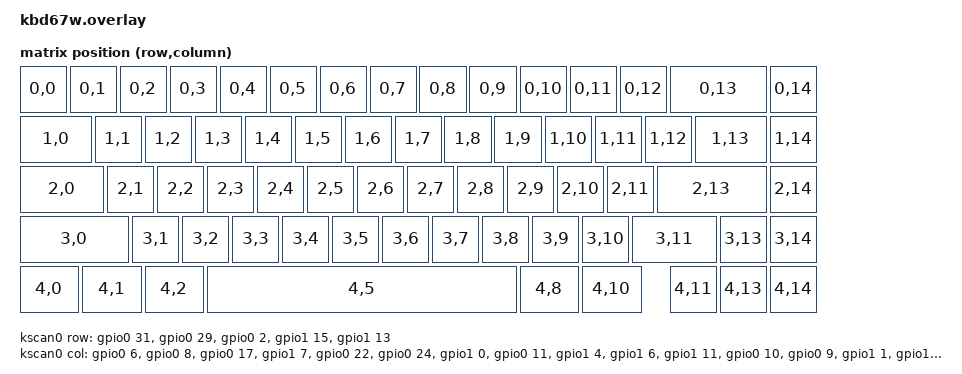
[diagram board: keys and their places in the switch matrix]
/*
 * KBD67 Lite R2 (KBD67 MKII RGB V2 PCB) converted to wireless with a
 * nice!nano-compatible nRF52840 controller (SuperMini). ATmega32U4 removed;
 * the PCB's 5x15 COL2ROW matrix is hand-wired to the controller.
 *
 * Pad names below are the numbers printed on the SuperMini (e.g. "031" = P0.31).
 * Matrix positions come from QMK keyboards/kbdfans/kbd67/mkiirgb/v2.
 * Pad "020" (P0.20) lost its connection to the chip on this SuperMini (2026-09-27),
 * so C3 uses the old spare pad "107" (P1.07). No spare pads are left.
 */

#include <dt-bindings/zmk/matrix_transform.h>
#include <physical_layouts.dtsi>

/* Pads "009" and "010" (P0.09/P0.10) default to NFC; we use them as key columns. */
&uicr {
    nfct-pins-as-gpios;
};

/ {
    chosen {
        zmk,kscan = &kscan0;
        zmk,physical-layout = &physical_layout0;
    };

    kscan0: kscan0 {
        compatible = "zmk,kscan-gpio-matrix";
        diode-direction = "col2row";
        wakeup-source;

        row-gpios
            = <&gpio0 31 (GPIO_ACTIVE_HIGH | GPIO_PULL_DOWN)>  /* R0 number row: pad "031" */
            , <&gpio0 29 (GPIO_ACTIVE_HIGH | GPIO_PULL_DOWN)>  /* R1 Tab row: pad "029" */
            , <&gpio0  2 (GPIO_ACTIVE_HIGH | GPIO_PULL_DOWN)>  /* R2 Caps row: pad "002" */
            , <&gpio1 15 (GPIO_ACTIVE_HIGH | GPIO_PULL_DOWN)>  /* R3 Shift row: pad "115" */
            , <&gpio1 13 (GPIO_ACTIVE_HIGH | GPIO_PULL_DOWN)>  /* R4 bottom row: pad "113" */
            ;

        col-gpios
            = <&gpio0  6 GPIO_ACTIVE_HIGH>  /* C0 : pad "006" */
            , <&gpio0  8 GPIO_ACTIVE_HIGH>  /* C1 : pad "008" */
            , <&gpio0 17 GPIO_ACTIVE_HIGH>  /* C2 : pad "017" */
            , <&gpio1  7 GPIO_ACTIVE_HIGH>  /* C3 : pad "107" (pad "020" is dead) */
            , <&gpio0 22 GPIO_ACTIVE_HIGH>  /* C4 : pad "022" */
            , <&gpio0 24 GPIO_ACTIVE_HIGH>  /* C5 : pad "024" */
            , <&gpio1  0 GPIO_ACTIVE_HIGH>  /* C6 : pad "100" */
            , <&gpio0 11 GPIO_ACTIVE_HIGH>  /* C7 : pad "011" */
            , <&gpio1  4 GPIO_ACTIVE_HIGH>  /* C8 : pad "104" */
            , <&gpio1  6 GPIO_ACTIVE_HIGH>  /* C9 : pad "106" */
            , <&gpio1 11 GPIO_ACTIVE_HIGH>  /* C10: pad "111" */
            , <&gpio0 10 GPIO_ACTIVE_HIGH>  /* C11: pad "010" */
            , <&gpio0  9 GPIO_ACTIVE_HIGH>  /* C12: pad "009" */
            , <&gpio1  1 GPIO_ACTIVE_HIGH>  /* C13: pad "101" */
            , <&gpio1  2 GPIO_ACTIVE_HIGH>  /* C14: pad "102" */
            ;
    };

    default_transform: keymap_transform_0 {
        compatible = "zmk,matrix-transform";
        columns = <15>;
        rows = <5>;
        map = <
            RC(0,0) RC(0,1) RC(0,2) RC(0,3) RC(0,4) RC(0,5) RC(0,6) RC(0,7) RC(0,8) RC(0,9) RC(0,10) RC(0,11) RC(0,12) RC(0,13) RC(0,14)
            RC(1,0) RC(1,1) RC(1,2) RC(1,3) RC(1,4) RC(1,5) RC(1,6) RC(1,7) RC(1,8) RC(1,9) RC(1,10) RC(1,11) RC(1,12) RC(1,13) RC(1,14)
            RC(2,0) RC(2,1) RC(2,2) RC(2,3) RC(2,4) RC(2,5) RC(2,6) RC(2,7) RC(2,8) RC(2,9) RC(2,10) RC(2,11) RC(2,13) RC(2,14)
            RC(3,0) RC(3,1) RC(3,2) RC(3,3) RC(3,4) RC(3,5) RC(3,6) RC(3,7) RC(3,8) RC(3,9) RC(3,10) RC(3,11) RC(3,13) RC(3,14)
            RC(4,0) RC(4,1) RC(4,2) RC(4,5) RC(4,8) RC(4,10) RC(4,11) RC(4,13) RC(4,14)
        >;
    };

    physical_layout0: physical_layout_0 {
        compatible = "zmk,physical-layout";
        display-name = "65% ANSI (blocker)";
        transform = <&default_transform>;

        keys  //                     w   h    x    y  rot rx ry
            = <&key_physical_attrs 100 100    0   0 0 0 0>
            , <&key_physical_attrs 100 100  100   0 0 0 0>
            , <&key_physical_attrs 100 100  200   0 0 0 0>
            , <&key_physical_attrs 100 100  300   0 0 0 0>
            , <&key_physical_attrs 100 100  400   0 0 0 0>
            , <&key_physical_attrs 100 100  500   0 0 0 0>
            , <&key_physical_attrs 100 100  600   0 0 0 0>
            , <&key_physical_attrs 100 100  700   0 0 0 0>
            , <&key_physical_attrs 100 100  800   0 0 0 0>
            , <&key_physical_attrs 100 100  900   0 0 0 0>
            , <&key_physical_attrs 100 100 1000   0 0 0 0>
            , <&key_physical_attrs 100 100 1100   0 0 0 0>
            , <&key_physical_attrs 100 100 1200   0 0 0 0>
            , <&key_physical_attrs 200 100 1300   0 0 0 0>
            , <&key_physical_attrs 100 100 1500   0 0 0 0>
            , <&key_physical_attrs 150 100    0 100 0 0 0>
            , <&key_physical_attrs 100 100  150 100 0 0 0>
            , <&key_physical_attrs 100 100  250 100 0 0 0>
            , <&key_physical_attrs 100 100  350 100 0 0 0>
            , <&key_physical_attrs 100 100  450 100 0 0 0>
            , <&key_physical_attrs 100 100  550 100 0 0 0>
            , <&key_physical_attrs 100 100  650 100 0 0 0>
            , <&key_physical_attrs 100 100  750 100 0 0 0>
            , <&key_physical_attrs 100 100  850 100 0 0 0>
            , <&key_physical_attrs 100 100  950 100 0 0 0>
            , <&key_physical_attrs 100 100 1050 100 0 0 0>
            , <&key_physical_attrs 100 100 1150 100 0 0 0>
            , <&key_physical_attrs 100 100 1250 100 0 0 0>
            , <&key_physical_attrs 150 100 1350 100 0 0 0>
            , <&key_physical_attrs 100 100 1500 100 0 0 0>
            , <&key_physical_attrs 175 100    0 200 0 0 0>
            , <&key_physical_attrs 100 100  175 200 0 0 0>
            , <&key_physical_attrs 100 100  275 200 0 0 0>
            , <&key_physical_attrs 100 100  375 200 0 0 0>
            , <&key_physical_attrs 100 100  475 200 0 0 0>
            , <&key_physical_attrs 100 100  575 200 0 0 0>
            , <&key_physical_attrs 100 100  675 200 0 0 0>
            , <&key_physical_attrs 100 100  775 200 0 0 0>
            , <&key_physical_attrs 100 100  875 200 0 0 0>
            , <&key_physical_attrs 100 100  975 200 0 0 0>
            , <&key_physical_attrs 100 100 1075 200 0 0 0>
            , <&key_physical_attrs 100 100 1175 200 0 0 0>
            , <&key_physical_attrs 225 100 1275 200 0 0 0>
            , <&key_physical_attrs 100 100 1500 200 0 0 0>
            , <&key_physical_attrs 225 100    0 300 0 0 0>
            , <&key_physical_attrs 100 100  225 300 0 0 0>
            , <&key_physical_attrs 100 100  325 300 0 0 0>
            , <&key_physical_attrs 100 100  425 300 0 0 0>
            , <&key_physical_attrs 100 100  525 300 0 0 0>
            , <&key_physical_attrs 100 100  625 300 0 0 0>
            , <&key_physical_attrs 100 100  725 300 0 0 0>
            , <&key_physical_attrs 100 100  825 300 0 0 0>
            , <&key_physical_attrs 100 100  925 300 0 0 0>
            , <&key_physical_attrs 100 100 1025 300 0 0 0>
            , <&key_physical_attrs 100 100 1125 300 0 0 0>
            , <&key_physical_attrs 175 100 1225 300 0 0 0>
            , <&key_physical_attrs 100 100 1400 300 0 0 0>
            , <&key_physical_attrs 100 100 1500 300 0 0 0>
            , <&key_physical_attrs 125 100    0 400 0 0 0>
            , <&key_physical_attrs 125 100  125 400 0 0 0>
            , <&key_physical_attrs 125 100  250 400 0 0 0>
            , <&key_physical_attrs 625 100  375 400 0 0 0>
            , <&key_physical_attrs 125 100 1000 400 0 0 0>
            , <&key_physical_attrs 125 100 1125 400 0 0 0>
            , <&key_physical_attrs 100 100 1300 400 0 0 0>
            , <&key_physical_attrs 100 100 1400 400 0 0 0>
            , <&key_physical_attrs 100 100 1500 400 0 0 0>
            ;
    };
};
